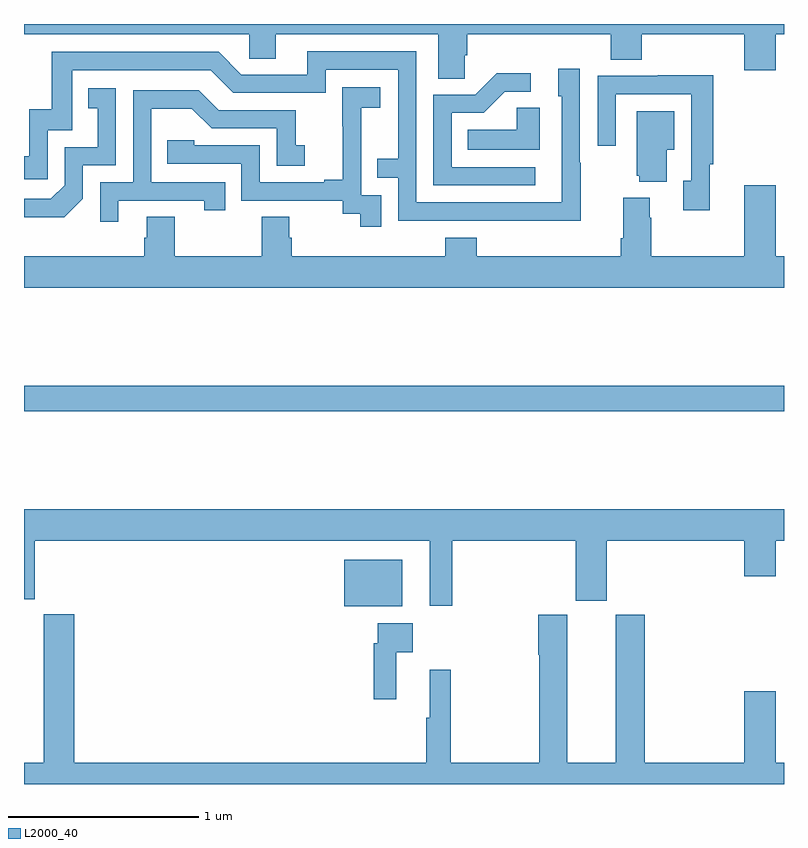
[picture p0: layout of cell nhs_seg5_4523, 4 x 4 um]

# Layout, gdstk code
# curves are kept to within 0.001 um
import gdstk
lib = gdstk.Library(unit=1e-6, precision=1e-09)
def R(c, l, rs):  # rectangles x0, y0, x1, y1
    for r in rs: c.add(gdstk.rectangle(r[:2], r[2:], *l))
def P(c, l, *ps):  # polygons
    for p in ps: c.add(gdstk.Polygon(p, *l))
L2000_40 = (2000, 40)

nhs_seg5_4523 = lib.new_cell('nhs_seg5_4523')
R(nhs_seg5_4523, L2000_40, [(378.686,869.735,378.991,869.98), (377,870.76,381,870.896)])
P(nhs_seg5_4523, L2000_40, [(379.32,872.635),(379.334,872.635),(379.334,872.744),(380.087,872.744),(380.087,872.611),(380.252,872.611),(380.252,872.744),(380.792,872.744),(380.792,872.556),(380.956,872.556),(380.956,872.744),(381,872.744),(381,872.799),(377,872.799),(377,872.744),(378.186,872.744),(378.186,872.617),(378.325,872.617),(378.325,872.744),(379.181,872.744),(379.181,872.512),(379.32,872.512)],
  [(379.929,872.069),(379.926,872.069),(379.926,872.563),(379.811,872.563),(379.811,872.418),(379.83,872.418),(379.83,871.86),(379.065,871.86),(379.065,872.655),(378.491,872.655),(378.491,872.532),(378.144,872.532),(378.024,872.652),(377.145,872.652),(377.145,872.35),(377.027,872.35),(377.027,872.103),(377,872.103),(377,871.983),(377.124,871.983),(377.124,872.241),(377.253,872.241),(377.253,872.556),(377.982,872.556),(378.102,872.436),(378.588,872.436),(378.588,872.559),(378.969,872.559),(378.969,872.09),(378.859,872.09),(378.859,871.989),(378.969,871.989),(378.969,871.764),(379.929,871.763)],
  [(379.69,872.046),(379.251,872.046),(379.251,872.331),(379.42,872.331),(379.531,872.442),(379.666,872.442),(379.666,872.54),(379.487,872.54),(379.374,872.427),(379.155,872.427),(379.155,871.95),(379.69,871.95)],
  [(380.609,872.062),(380.627,872.062),(380.627,872.528),(380.335,872.528),(380.335,872.526),(380.019,872.526),(380.019,872.157),(380.115,872.157),(380.115,872.43),(380.511,872.43),(380.511,871.974),(380.471,871.974),(380.471,871.818),(380.609,871.818)],
  [(378.879,871.899),(378.774,871.899),(378.774,872.129),(378.776,872.129),(378.776,872.357),(378.874,872.357),(378.874,872.467),(378.676,872.467),(378.676,872.261),(378.677,872.261),(378.677,871.978),(378.581,871.978),(378.581,871.965),(378.24,871.965),(378.24,872.16),(377.895,872.16),(377.895,872.187),(377.755,872.187),(377.755,872.064),(378.144,872.064),(378.144,871.869),(378.678,871.869),(378.678,871.801),(378.771,871.801),(378.771,871.731),(378.879,871.731)],
  [(377.31,871.878),(377.31,872.055),(377.484,872.055),(377.484,872.461),(377.338,872.461),(377.338,872.355),(377.387,872.355),(377.387,872.151),(377.214,872.151),(377.214,871.95),(377.142,871.878),(377,871.878),(377,871.781),(377.212,871.781)],
  [(377.497,871.869),(377.948,871.869),(377.948,871.818),(378.059,871.818),(378.059,871.965),(377.67,871.965),(377.67,872.354),(377.884,872.354),(377.988,872.25),(378.33,872.25),(378.33,872.052),(378.478,872.052),(378.478,872.161),(378.429,872.161),(378.429,872.346),(378.025,872.346),(377.92,872.451),(377.574,872.451),(377.574,871.965),(377.4,871.965),(377.4,871.758),(377.497,871.758)],
  [(379.714,872.357),(379.593,872.357),(379.593,872.242),(379.336,872.242),(379.336,872.138),(379.714,872.138)],
  [(380.383,872.138),(380.422,872.138),(380.422,872.341),(380.225,872.341),(380.225,872.001),(380.237,872.001),(380.237,871.97),(380.383,871.97)],
  [(381,871.576),(380.956,871.576),(380.956,871.951),(380.792,871.951),(380.792,871.576),(380.301,871.576),(380.301,871.778),(380.293,871.778),(380.293,871.885),(380.153,871.885),(380.153,871.672),(380.141,871.672),(380.141,871.576),(379.382,871.576),(379.382,871.675),(379.217,871.675),(379.217,871.576),(378.41,871.576),(378.41,871.674),(378.397,871.674),(378.397,871.784),(378.25,871.784),(378.25,871.576),(377.793,871.576),(377.793,871.784),(377.645,871.784),(377.645,871.674),(377.633,871.674),(377.633,871.576),(377,871.576),(377,871.412),(381,871.412)],
  [(379.253,870.08),(379.904,870.08),(379.904,869.763),(380.068,869.763),(380.068,870.08),(380.792,870.08),(380.792,869.892),(380.956,869.892),(380.956,870.08),(381,870.08),(381,870.244),(377,870.244),(377,869.771),(377.056,869.771),(377.056,870.08),(379.136,870.08),(379.136,869.736),(379.253,869.736)],
  [(381,868.912),(380.956,868.912),(380.956,869.287),(380.792,869.287),(380.792,868.912),(380.267,868.912),(380.267,869.691),(380.114,869.691),(380.114,868.912),(379.858,868.912),(379.858,869.691),(379.706,869.691),(379.706,869.479),(379.711,869.479),(379.711,868.912),(379.246,868.912),(379.246,869.401),(379.136,869.401),(379.136,869.148),(379.117,869.148),(379.117,868.912),(377.264,868.912),(377.264,869.692),(377.104,869.692),(377.104,868.912),(377,868.912),(377,868.799),(381,868.799)],
  [(378.959,869.492),(379.045,869.492),(379.045,869.644),(378.861,869.644),(378.861,869.54),(378.841,869.54),(378.841,869.244),(378.959,869.244)])

lib.write_gds('nhs_seg5_4523.gds')
